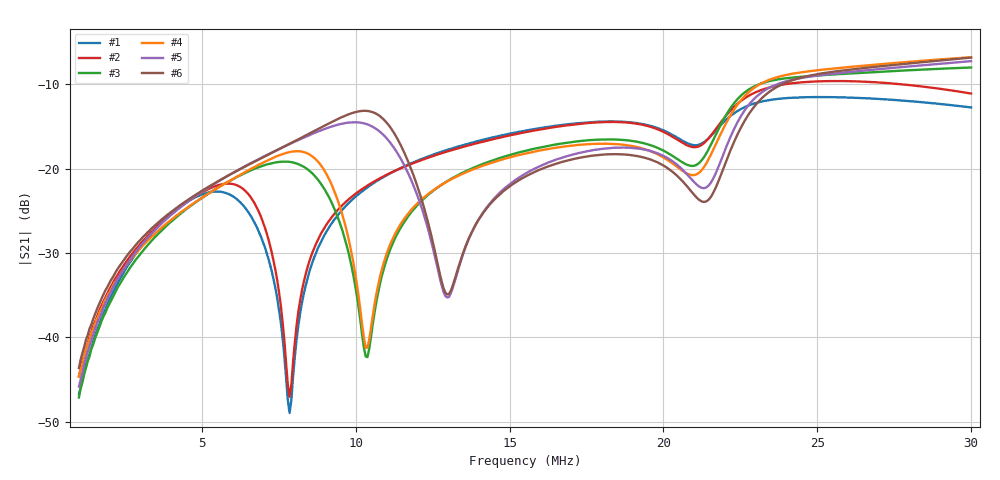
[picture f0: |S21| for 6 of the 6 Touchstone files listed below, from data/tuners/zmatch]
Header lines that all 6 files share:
# HZ S RI R 50
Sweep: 1 MHz to 30 MHz
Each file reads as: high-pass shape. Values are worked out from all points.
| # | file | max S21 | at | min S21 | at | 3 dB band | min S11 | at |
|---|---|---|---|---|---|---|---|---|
| 1 | zmatch-L9-T5-F.s2p | -11.50 dB | 25.11 MHz | -49.0 dB | 7.847 MHz | 22 MHz-30 MHz | -18.3 dB | 21.89 MHz |
| 2 | zmatch-L9-T5-R.s2p | -9.60 dB | 25.57 MHz | -47.1 dB | 7.847 MHz | 22.35 MHz-30 MHz | -1.3 dB | 26.89 MHz |
| 3 | zmatch-L9-T7-F.s2p | -8.00 dB | 30 MHz | -47.1 dB | 1 MHz | 22.64 MHz-30 MHz | -15.2 dB | 22.46 MHz |
| 4 | zmatch-L9-T7-R.s2p | -6.78 dB | 30 MHz | -44.7 dB | 1 MHz | 23.27 MHz-30 MHz | -1.9 dB | 30 MHz |
| 5 | zmatch-L9-T9-F.s2p | -7.25 dB | 30 MHz | -45.9 dB | 1 MHz | 23.56 MHz-30 MHz | -8.3 dB | 22.98 MHz |
| 6 | zmatch-L9-T9-R.s2p | -6.82 dB | 30 MHz | -43.6 dB | 1 MHz | 23.96 MHz-30 MHz | -3.8 dB | 11.01 MHz |
